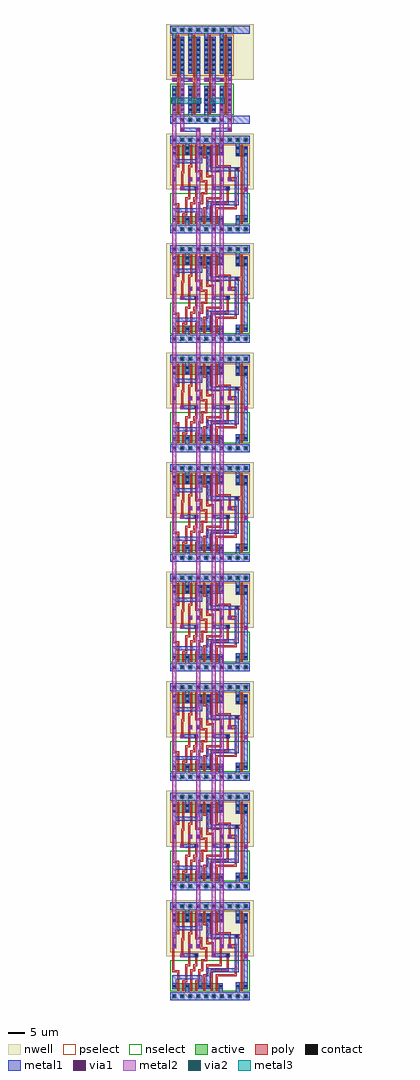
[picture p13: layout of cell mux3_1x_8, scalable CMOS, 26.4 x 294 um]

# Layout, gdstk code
import gdstk
lib = gdstk.Library(unit=1e-6, precision=1e-09)
def R(c, l, rs):  # rectangles x0, y0, x1, y1
    for r in rs: c.add(gdstk.rectangle(r[:2], r[2:], *l))
def A(c, l, x, y, w, h, nx, ny, dx, dy):  # array of equal rectangles
    R(c, l, [(x+i*dx, y+j*dy, x+i*dx+w, y+j*dy+h) for i in range(nx) for j in range(ny)])
def P(c, l, *ps):  # polygons
    for p in ps: c.add(gdstk.Polygon(p, *l))
contact = (25, 0)
nwell = (42, 0)
active = (43, 0)
pselect = (44, 0)
nselect = (45, 0)
poly = (46, 0)
metal1 = (49, 0)
via1 = (50, 0)
metal2 = (51, 0)
via2 = (61, 0)
metal3 = (62, 0)

invbuf_4x = lib.new_cell('invbuf_4x')
A(invbuf_4x, contact, 0.9, -0.3, 0.6, 0.6, 4, 2, 2.4, 3)
A(invbuf_4x, contact, 0.9, 4.2, 0.6, 0.6, 4, 4, 2.4, 1.5)
A(invbuf_4x, contact, 0.9, 14.7, 0.6, 0.6, 4, 7, 2.4, 1.5)
A(invbuf_4x, contact, 0.9, 26.7, 0.6, 0.6, 4, 1, 2.4, 0)
R(invbuf_4x, contact, [(0.9,11.7,1.5,12.3), (5.7,11.7,6.3,12.3)])
R(invbuf_4x, nwell, [(-1.2,12,6,28.8), (3.6,12,10.8,28.8)])
A(invbuf_4x, active, 0.6, -0.6, 1.2, 1.2, 4, 2, 2.4, 27)
R(invbuf_4x, active, [(0.6,2.1,4.2,10.2), (5.4,2.1,9,10.2), (0.6,13.8,4.2,24.9), (5.4,13.8,9,24.9)])
R(invbuf_4x, pselect, [(0,-1.2,4.8,1.2), (4.8,-1.2,9.6,1.2), (0,13.2,4.8,25.5), (4.8,13.2,9.6,25.5)])
R(invbuf_4x, nselect, [(0,1.5,4.8,10.8), (4.8,1.5,9.6,10.8), (0,25.8,4.8,28.2), (4.8,25.8,9.6,28.2)])
P(invbuf_4x, poly, [(7.5,25.5),(6.9,25.5),(6.9,12.6),(5.4,12.6),(5.4,11.4),(6.9,11.4),(6.9,1.5),(7.5,1.5)],
  [(2.7,25.5),(2.1,25.5),(2.1,12.6),(0.6,12.6),(0.6,11.4),(2.1,11.4),(2.1,1.5),(2.7,1.5)])
R(invbuf_4x, metal1, [(0,-1.2,9.6,1.2), (0,-1.2,4.8,1.2), (4.8,-1.2,9.6,1.2), (3,2.1,4.2,24.9), (7.8,2.1,9,24.9), (0.6,11.4,1.8,12.6), (3,11.4,6.6,12.6), (0,25.8,9.6,28.2), (0,25.8,4.8,28.2), (4.8,25.8,9.6,28.2)])
P(invbuf_4x, metal1, [(9.6,1.2),(6.6,1.2),(6.6,10.2),(5.4,10.2),(5.4,1.2),(4.8,1.2),(4.8,-1.2),(9.6,-1.2)],
  [(9.6,28.2),(4.8,28.2),(4.8,25.8),(5.4,25.8),(5.4,13.8),(6.6,13.8),(6.6,25.8),(9.6,25.8)],
  [(4.8,1.2),(1.8,1.2),(1.8,10.2),(0.6,10.2),(0.6,1.2),(0,1.2),(0,-1.2),(4.8,-1.2)],
  [(4.8,28.2),(0,28.2),(0,25.8),(0.6,25.8),(0.6,13.8),(1.8,13.8),(1.8,25.8),(4.8,25.8)])
R(invbuf_4x, via1, [(0.9,11.7,1.5,12.3), (3.3,11.7,3.9,12.3), (8.1,11.7,8.7,12.3)])
R(invbuf_4x, metal2, [(0.6,11.4,1.8,12.6), (0.6,11.4,1.8,12.6), (0.6,11.4,1.8,12.6), (0.6,11.4,2.1,12.6), (3,11.4,4.2,12.6), (3,11.4,4.2,12.6), (3,11.4,4.2,12.6), (5.4,11.4,6.6,12.6), (5.4,11.4,6.6,12.6), (7.8,11.4,9,12.6), (7.8,11.4,9,12.6), (7.8,11.4,9,12.6)])

mux3_dp_1x = lib.new_cell('mux3_dp_1x')
A(mux3_dp_1x, contact, 0.9, -0.3, 0.6, 0.6, 10, 2, 2.4, 27)
A(mux3_dp_1x, contact, 0.9, 2.7, 0.6, 0.6, 3, 2, 3.9, 19.8)
A(mux3_dp_1x, contact, 0.9, 24, 0.6, 0.6, 3, 1, 3.9, 0)
R(mux3_dp_1x, contact, [(11.1,2.7,11.7,3.3), (15,2.7,15.6,3.3), (20.1,2.7,20.7,3.3), (22.5,2.7,23.1,3.3), (3.3,12,3.9,12.6), (7.5,12,8.1,12.6), (12.9,12,13.5,12.6), (17.1,12,17.7,12.6), (0.9,14.7,1.5,15.3), (5.7,14.7,6.3,15.3), (8.1,14.7,8.7,15.3), (15.3,14.7,15.9,15.3), (17.7,14.7,18.3,15.3), (19.8,17.7,20.4,18.3), (20.1,22.2,20.7,22.8), (22.5,22.2,23.1,22.8), (11.1,22.5,11.7,23.1), (15,22.5,15.6,23.1), (11.1,24,11.7,24.6), (15,24,15.6,24.6), (20.1,24,20.7,24.6), (22.5,24,23.1,24.6)])
R(mux3_dp_1x, nwell, [(-1.2,12,25.2,28.8)])
A(mux3_dp_1x, active, 0.6, -0.6, 1.2, 1.2, 10, 2, 2.4, 27)
R(mux3_dp_1x, active, [(0.6,2.1,15.9,3.9), (19.8,2.1,23.4,4.2), (19.8,21.9,23.4,24.9), (0.6,22.2,15.9,24.9)])
R(mux3_dp_1x, pselect, [(0,-1.2,24,1.2), (0,13.2,24,25.5)])
R(mux3_dp_1x, nselect, [(0,1.5,24,10.8), (0,25.8,24,28.2)])
R(mux3_dp_1x, poly, [(2.1,1.5,2.7,7.8), (3.6,1.5,4.2,4.8), (6,1.5,6.6,8.1), (7.5,1.5,8.1,4.8), (9.9,1.5,10.5,6.6), (12.3,1.5,12.9,8.1), (13.8,1.5,14.4,6.6), (21.3,1.5,21.9,25.5), (4.2,4.2,5.1,4.8), (8.1,4.2,8.4,4.8), (8.4,4.2,9,8.1), (4.5,4.8,5.1,9.6), (10.5,6,10.8,6.6), (10.8,6,11.4,9.6), (14.4,6,19.5,6.6), (19.5,6,20.1,15.6), (0.6,7.2,1.2,19.2), (1.2,7.2,2.1,7.8), (6.6,7.5,6.9,8.1), (6.9,7.5,7.5,9.6), (9,7.5,9.3,8.1), (9.3,7.5,9.9,11.1), (12.9,7.5,17.1,8.1), (17.1,7.5,17.7,12.9), (5.1,9,5.4,9.6), (5.4,9,6,19.2), (7.5,9,8.1,12.9), (11.4,9,15,9.6), (15,9,15.6,17.7), (9.9,10.5,10.5,11.1), (10.5,10.5,11.1,14.7), (3,11.7,4.2,12.9), (7.2,11.7,7.5,12.9), (8.1,11.7,8.4,12.9), (12.6,11.7,13.8,12.9), (16.8,11.7,17.1,12.9), (17.7,11.7,18,12.9), (3.3,12.9,3.9,17.4), (12.6,12.9,13.2,16.2), (9,14.1,9.6,17.7), (9.6,14.1,10.5,14.7), (1.2,14.4,1.8,15.6), (6,14.4,6.6,15.6), (7.8,14.4,9,15.6), (15.6,14.4,16.2,15.6), (17.4,14.4,18.6,15.6), (18.6,14.4,19.5,15.6), (10.8,15.6,11.4,21.9), (11.4,15.6,12.6,16.2), (17.7,15.6,18.3,19.2), (3.6,16.8,4.2,25.5), (7.5,17.1,8.1,25.5), (8.1,17.1,9,17.7), (12.3,17.1,12.9,25.5), (12.9,17.1,15,17.7), (19.5,17.4,20.7,18.6), (20.7,17.4,21.3,18.6), (1.2,18.6,2.1,19.2), (2.1,18.6,2.7,25.5), (6,18.6,6.6,25.5), (13.8,18.6,14.4,25.5), (14.4,18.6,17.7,19.2), (9.9,21.3,10.5,25.5), (10.5,21.3,10.8,21.9)])
R(mux3_dp_1x, metal1, [(0,-1.2,24,1.2), (0,-1.2,24,1.2), (4.5,1.2,5.7,3.9), (14.7,1.2,15.9,3.9), (19.8,1.2,21,4.2), (0.6,2.1,1.8,6.3), (8.4,2.1,9.6,6.3), (10.8,2.1,12,8.4), (22.2,2.1,23.4,24.9), (1.8,5.1,8.4,6.3), (12,7.2,19.5,8.4), (19.5,7.2,20.7,18.6), (3,11.7,8.4,12.9), (12.6,11.7,18,12.9), (0.6,14.4,1.8,15.6), (5.4,14.4,6.6,15.6), (7.8,14.4,9,15.6), (15,14.4,16.2,15.6), (17.4,14.4,18.6,15.6), (0.6,17.4,1.8,24.9), (10.8,17.4,12,24.9), (12,17.4,19.5,18.6), (1.8,19.8,9.6,21), (8.4,21,9.6,24.9), (19.8,21.9,21,25.8), (4.5,22.2,5.7,25.8), (14.7,22.2,15.9,25.8), (0,25.8,24,28.2), (0,25.8,24,28.2)])
R(mux3_dp_1x, via1, [(22.5,11.7,23.1,12.3), (3.3,12,3.9,12.6), (12.9,12,13.5,12.6), (0.9,14.7,1.5,15.3), (5.7,14.7,6.3,15.3), (8.1,14.7,8.7,15.3), (15.3,14.7,15.9,15.3), (17.7,14.7,18.3,15.3)])
R(mux3_dp_1x, metal2, [(22.2,11.4,23.4,12.6), (3,11.7,4.2,12.9), (12.6,11.7,13.8,12.9), (0.6,14.4,1.8,15.6), (5.4,14.4,6.6,15.6), (7.8,14.4,9,15.6), (15,14.4,16.2,15.6), (17.4,14.4,18.6,15.6)])

mux3_1x_8 = lib.new_cell('mux3_1x_8')
R(mux3_1x_8, nwell, [(-1.2,276,25.2,292.8)])
R(mux3_1x_8, metal1, [(0,-1.2,24,1.2), (0,25.8,24,28.2), (0,31.8,24,34.2), (0,58.8,24,61.2), (0,64.8,24,67.2), (0,91.8,24,94.2), (0,97.8,24,100.2), (0,124.8,24,127.2), (0,130.8,24,133.2), (0,157.8,24,160.2), (0,163.8,24,166.2), (0,190.8,24,193.2), (0,196.8,24,199.2), (0,223.8,24,226.2), (0,229.8,24,232.2), (0,256.8,24,259.2), (3,260.4,9,261.6), (12.6,260.4,18.6,261.6), (0,262.8,24,265.2), (0,289.8,24,292.2)])
A(mux3_1x_8, via1, 3.3, 260.7, 0.6, 0.6, 4, 1, 4.8, 0)
A(mux3_1x_8, metal2, 22.2, 11.4, 1.2, 1.2, 1, 8, 0, 33)
A(mux3_1x_8, metal2, 3, 11.7, 1.2, 1.2, 1, 8, 0, 33)
A(mux3_1x_8, metal2, 5.4, 14.4, 1.2, 1.2, 1, 8, 0, 33)
A(mux3_1x_8, metal2, 17.4, 14.4, 1.2, 1.2, 1, 8, 0, 33)
R(mux3_1x_8, metal2, [(12.6,11.7,13.8,261.6), (0.6,14.4,1.8,270.3), (7.8,14.4,9,261.6), (15,14.4,16.2,270.3), (3,260.4,4.2,276.6), (17.4,260.4,18.6,276.6), (7.8,269.1,9,276.6), (12.6,269.1,13.8,276.6), (0.6,275.4,1.8,276.6), (10.2,275.4,11.4,276.6)])
R(mux3_1x_8, via2, [(0.9,269.4,1.5,270), (8.1,269.4,8.7,270), (12.9,269.4,13.5,270), (15.3,269.4,15.9,270)])
R(mux3_1x_8, metal3, [(0.3,268.8,9.3,270.6), (12.3,268.8,16.5,270.6)])
mux3_1x_8.add(gdstk.Reference(invbuf_4x, (0,264)))
mux3_1x_8.add(gdstk.Reference(invbuf_4x, (9.6,264)))
r = gdstk.Reference(mux3_dp_1x, (0,0)); r.repetition = gdstk.Repetition(1, 8, v1=(26.4,0), v2=(0,33)); mux3_1x_8.add(r)

lib.write_gds('mux3_1x_8.gds')
